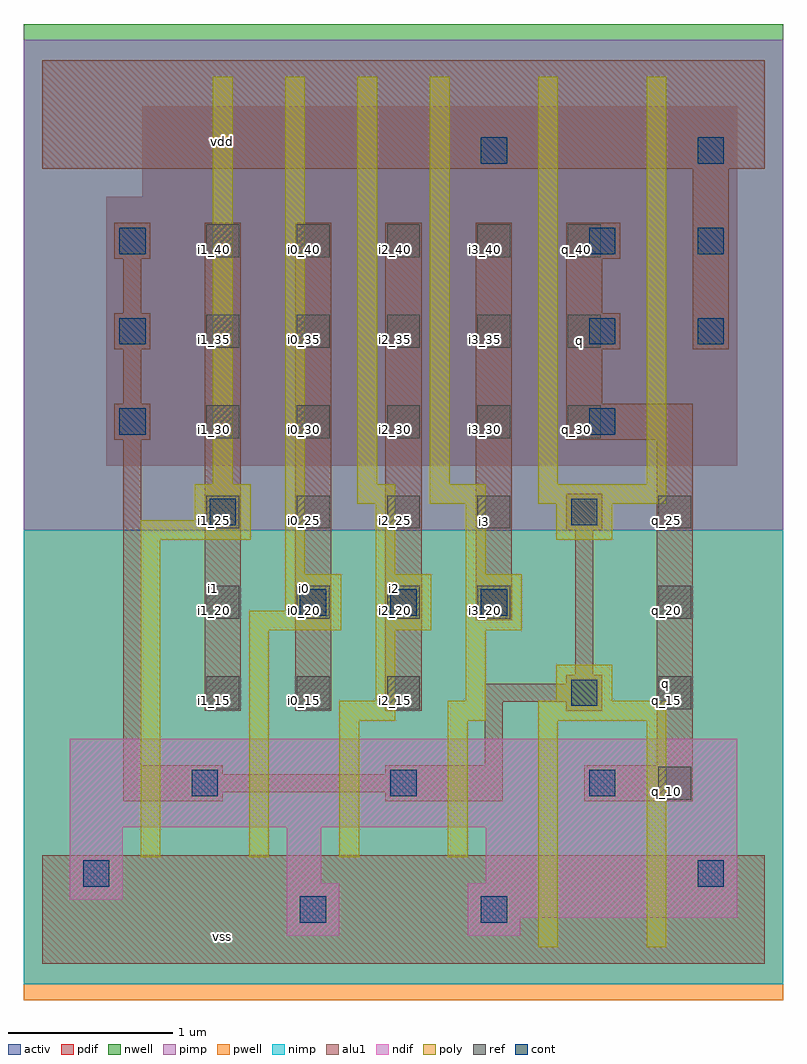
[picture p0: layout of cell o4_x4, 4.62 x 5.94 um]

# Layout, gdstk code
import gdstk
lib = gdstk.Library(unit=1e-6, precision=2.5e-09)
def R(c, l, rs):  # rectangles x0, y0, x1, y1
    for r in rs: c.add(gdstk.rectangle(r[:2], r[2:], *l))
def A(c, l, x, y, w, h, nx, ny, dx, dy):  # array of equal rectangles
    R(c, l, [(x+i*dx, y+j*dy, x+i*dx+w, y+j*dy+h) for i in range(nx) for j in range(ny)])
ndif = (3, 0)
pdif = (4, 0)
ref = (24, 0)
cont = (25, 0)
pwell = (41, 0)
nwell = (42, 0)
activ = (43, 0)
pimp = (44, 0)
nimp = (45, 0)
poly = (46, 0)
alu1 = (49, 0)

o4_x4 = lib.new_cell('o4_x4')
R(o4_x4, ndif, [(1.49,0.17,1.81,0.49), (1.49,0.17,1.81,0.49), (2.59,0.17,2.91,0.28), (2.59,0.17,2.91,0.28), (2.59,0.28,4.23,0.49), (2.59,0.28,4.23,0.49), (0.17,0.39,0.49,0.83), (0.17,0.39,0.49,0.83), (1.49,0.49,1.7,0.83), (1.49,0.49,1.7,0.83), (2.7,0.49,4.23,0.83), (2.7,0.49,4.23,0.83), (0.17,0.83,4.23,1.37), (0.17,0.83,4.23,1.37)])
R(o4_x4, pdif, [(0.39,3.03,4.23,4.67), (0.39,3.03,4.23,4.67), (0.61,4.67,4.23,5.22), (0.61,4.67,4.23,5.22)])
A(o4_x4, ref, 3.75, 1, 0.2, 0.2, 1, 4, 0, 0.55)
A(o4_x4, ref, 1, 1.55, 0.2, 0.2, 3, 1, 0.55, 0)
A(o4_x4, ref, 1, 2.1, 0.2, 0.2, 4, 2, 0.55, 0.55)
A(o4_x4, ref, 1, 3.2, 0.2, 0.2, 5, 3, 0.55, 0.55)
A(o4_x4, cont, 0.91, 1.02, 0.16, 0.16, 3, 1, 1.21, 0)
A(o4_x4, cont, 1.57, 2.12, 0.16, 0.16, 3, 1, 0.55, 0)
A(o4_x4, cont, 0.47, 3.22, 0.16, 0.16, 1, 3, 0, 0.55)
A(o4_x4, cont, 3.33, 3.22, 0.16, 0.16, 1, 3, 0, 0.55)
A(o4_x4, cont, 3.99, 3.77, 0.16, 0.16, 1, 3, 0, 0.55)
R(o4_x4, cont, [(1.57,0.25,1.73,0.41), (2.67,0.25,2.83,0.41), (0.25,0.47,0.41,0.63), (3.99,0.47,4.15,0.63), (3.22,1.57,3.38,1.73), (1.02,2.67,1.18,2.83), (3.22,2.67,3.38,2.83), (2.67,4.87,2.83,5.03)])
R(o4_x4, pwell, [(-0.11,-0.22,4.51,2.64)])
R(o4_x4, nwell, [(-0.11,2.64,4.51,5.72)])
R(o4_x4, activ, [(1.49,0.17,1.81,0.49), (1.49,0.17,1.81,0.49), (2.59,0.17,2.91,0.28), (2.59,0.17,2.91,0.28), (2.59,0.28,4.23,0.49), (2.59,0.28,4.23,0.49), (0.17,0.39,0.49,0.83), (0.17,0.39,0.49,0.83), (1.49,0.49,1.7,0.83), (1.49,0.49,1.7,0.83), (2.7,0.49,4.23,0.83), (2.7,0.49,4.23,0.83), (0.17,0.83,4.23,1.37), (0.17,0.83,4.23,1.37), (0.39,3.03,4.23,4.67), (0.39,3.03,4.23,4.67), (0.61,4.67,4.23,5.22), (0.61,4.67,4.23,5.22)])
R(o4_x4, pimp, [(-0.11,2.64,4.51,5.625)])
R(o4_x4, nimp, [(-0.11,-0.125,4.51,2.64)])
A(o4_x4, poly, 2.36, 2.92, 0.12, 2.48, 3, 1, 0.66, 0)
R(o4_x4, poly, [(3.02,0.1,3.14,1.48), (3.68,0.1,3.8,1.48), (0.6,0.65,0.72,2.58), (1.26,0.65,1.38,2.03), (1.81,0.65,1.93,1.48), (2.47,0.65,2.59,1.48), (1.81,1.48,2.15,1.6), (2.47,1.48,2.7,1.6), (3.02,1.48,3.8,1.6), (2.03,1.6,2.15,2.03), (2.58,1.6,2.7,2.03), (3.13,1.6,3.47,1.82), (1.26,2.03,1.82,2.15), (2.03,2.03,2.37,2.37), (2.58,2.03,2.92,2.37), (1.48,2.15,1.82,2.37), (1.48,2.37,1.6,5.4), (2.03,2.37,2.15,2.8), (2.58,2.37,2.7,2.8), (0.6,2.58,1.27,2.7), (3.13,2.58,3.47,2.8), (0.93,2.7,1.27,2.92), (1.92,2.8,2.15,2.92), (2.36,2.8,2.7,2.92), (3.02,2.8,3.8,2.92), (1.04,2.92,1.16,5.4), (1.92,2.92,2.04,5.4)])
A(o4_x4, alu1, 0.99, 1.54, 0.22, 2.97, 3, 1, 0.55, 0)
A(o4_x4, alu1, 0.44, 3.19, 0.22, 0.22, 1, 3, 0, 0.55)
R(o4_x4, alu1, [(0,0,4.4,0.66), (0.495,0.99,1.1,1.045), (2.09,0.99,2.805,1.045), (3.3,0.99,3.96,1.21), (0.495,1.045,2.805,1.155), (0.495,1.155,1.1,1.21), (2.09,1.155,2.805,1.21), (0.495,1.21,0.605,3.19), (2.695,1.21,2.805,1.595), (3.74,1.21,3.96,3.19), (3.19,1.54,3.41,1.595), (2.695,1.595,3.41,1.705), (3.19,1.705,3.41,1.76), (3.245,1.76,3.355,2.64), (2.64,2.09,2.86,4.51), (3.19,2.64,3.41,2.86), (3.19,3.19,3.96,3.41), (0.495,3.41,0.605,3.74), (3.19,3.41,3.41,3.74), (3.19,3.74,3.52,3.96), (3.96,3.74,4.18,4.84), (0.495,3.96,0.605,4.29), (3.19,3.96,3.41,4.29), (3.19,4.29,3.52,4.51), (0,4.84,4.4,5.5)])
o4_x4.add(gdstk.Label('vss', (1.1,0.165), layer=49, texttype=0))
o4_x4.add(gdstk.Label('q', (3.795,1.705), layer=49, texttype=0))
o4_x4.add(gdstk.Label('q', (3.2725,3.795), layer=49, texttype=0))
o4_x4.add(gdstk.Label('i3', (2.695,2.695), layer=49, texttype=0))
o4_x4.add(gdstk.Label('i2', (2.145,2.2825), layer=49, texttype=0))
o4_x4.add(gdstk.Label('i0', (1.595,2.2825), layer=49, texttype=0))
o4_x4.add(gdstk.Label('i1', (1.045,2.2825), layer=49, texttype=0))
o4_x4.add(gdstk.Label('vdd', (1.1,5.005), layer=49, texttype=0))
o4_x4.add(gdstk.Label('i3_20', (2.7,2.15), layer=24, texttype=0))
o4_x4.add(gdstk.Label('i3_25', (2.7,2.7), layer=24, texttype=0))
o4_x4.add(gdstk.Label('i3_30', (2.7,3.25), layer=24, texttype=0))
o4_x4.add(gdstk.Label('i3_35', (2.7,3.8), layer=24, texttype=0))
o4_x4.add(gdstk.Label('i3_40', (2.7,4.35), layer=24, texttype=0))
o4_x4.add(gdstk.Label('i1_40', (1.05,4.35), layer=24, texttype=0))
o4_x4.add(gdstk.Label('i1_35', (1.05,3.8), layer=24, texttype=0))
o4_x4.add(gdstk.Label('i1_30', (1.05,3.25), layer=24, texttype=0))
o4_x4.add(gdstk.Label('i1_25', (1.05,2.7), layer=24, texttype=0))
o4_x4.add(gdstk.Label('i1_20', (1.05,2.15), layer=24, texttype=0))
o4_x4.add(gdstk.Label('i1_15', (1.05,1.6), layer=24, texttype=0))
o4_x4.add(gdstk.Label('i0_15', (1.6,1.6), layer=24, texttype=0))
o4_x4.add(gdstk.Label('i0_20', (1.6,2.15), layer=24, texttype=0))
o4_x4.add(gdstk.Label('i0_25', (1.6,2.7), layer=24, texttype=0))
o4_x4.add(gdstk.Label('i0_30', (1.6,3.25), layer=24, texttype=0))
o4_x4.add(gdstk.Label('i0_35', (1.6,3.8), layer=24, texttype=0))
o4_x4.add(gdstk.Label('i0_40', (1.6,4.35), layer=24, texttype=0))
o4_x4.add(gdstk.Label('i2_15', (2.15,1.6), layer=24, texttype=0))
o4_x4.add(gdstk.Label('i2_20', (2.15,2.15), layer=24, texttype=0))
o4_x4.add(gdstk.Label('i2_25', (2.15,2.7), layer=24, texttype=0))
o4_x4.add(gdstk.Label('i2_30', (2.15,3.25), layer=24, texttype=0))
o4_x4.add(gdstk.Label('i2_35', (2.15,3.8), layer=24, texttype=0))
o4_x4.add(gdstk.Label('i2_40', (2.15,4.35), layer=24, texttype=0))
o4_x4.add(gdstk.Label('q_25', (3.8,2.7), layer=24, texttype=0))
o4_x4.add(gdstk.Label('q_20', (3.8,2.15), layer=24, texttype=0))
o4_x4.add(gdstk.Label('q_15', (3.8,1.6), layer=24, texttype=0))
o4_x4.add(gdstk.Label('q_10', (3.8,1.05), layer=24, texttype=0))
o4_x4.add(gdstk.Label('q_40', (3.25,4.35), layer=24, texttype=0))
o4_x4.add(gdstk.Label('q_35', (3.25,3.8), layer=24, texttype=0))
o4_x4.add(gdstk.Label('q_30', (3.25,3.25), layer=24, texttype=0))

lib.write_gds('o4_x4.gds')
